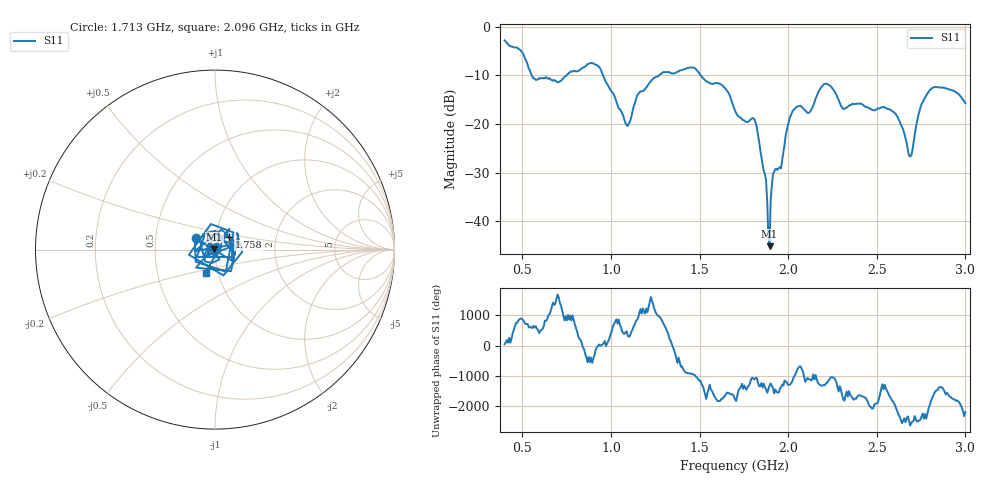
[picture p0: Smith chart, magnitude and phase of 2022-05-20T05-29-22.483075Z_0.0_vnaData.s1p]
!Created with skrf (http://scikit-rf.org).
# Hz S RI R 50.0
!freq ReS11 ImS11
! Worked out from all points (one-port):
!   401 points, 400 MHz to 3 GHz, reference 50 ohm
!   lowest |S11| = -45.2 dB at 1.895 GHz (marker M1), VSWR 1.01, Z = 49.6 + j0.414 ohm
!   |S11| at or under -10 dB: 553.3 MHz to 749.2 MHz (195.9 MHz wide, 30.1 % of centre); 954.9 MHz to 1.271 GHz (316.3 MHz wide, 28.4 % of centre); 1.506 GHz to end of sweep
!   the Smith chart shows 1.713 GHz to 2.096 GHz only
!   S11 on the Smith chart (normalised r, x): 1.713 GHz: 0.80, +0.10; 1.758 GHz: 1.16, +0.16; 2.096 GHz: 0.87, -0.23
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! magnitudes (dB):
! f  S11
! 400 MHz  -2.8
! 491 MHz  -4.9
! 569 MHz  -10.6
! 725 MHz  -10.8
! 913.5 MHz  -7.8
! 1.05 GHz  -16.9
! 1.095 GHz  -20.4
! 1.161 GHz  -13.5
! 1.375 GHz  -9.2
! 1.622 GHz  -11.9
! 1.7 GHz  -17.2
! 1.713 GHz  -18.2
! 1.758 GHz  -19.5
! 1.817 GHz  -19.8
! 1.882 GHz  -36.1
! 1.895 GHz  -45.2
! 1.921 GHz  -29.8
! 1.96 GHz  -29.1
! 2.025 GHz  -17.4
! 2.096 GHz  -17.2
! 2.213 GHz  -11.7
! 2.35 GHz  -16.1
! 2.591 GHz  -17.4
! 2.675 GHz  -25.3
! 2.695 GHz  -26.5
! 2.747 GHz  -16.6
! 2.812 GHz  -12.6
! 3 GHz  -15.8
